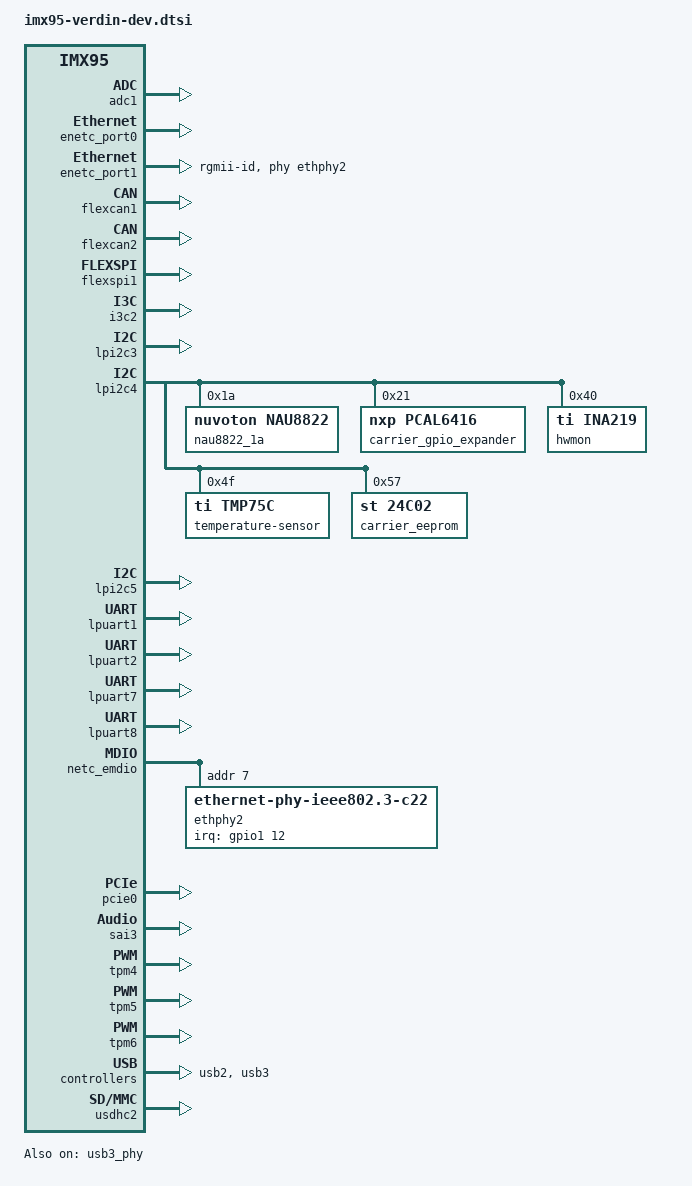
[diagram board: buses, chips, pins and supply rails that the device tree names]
// SPDX-License-Identifier: GPL-2.0-or-later OR MIT
/*
 * Copyright (c) Toradex
 *
 * Common dtsi for Verdin iMX95 SoM on development carrier board
 *
 * https://www.toradex.com/computer-on-modules/verdin-arm-family/nxp-imx95
 * https://www.toradex.com/products/carrier-board/verdin-development-board-kit
 */

/ {
	aliases {
		eeprom1 = &carrier_eeprom;
	};

	sound {
		compatible = "simple-audio-card";
		simple-audio-card,bitclock-master = <&codec_dai>;
		simple-audio-card,format = "i2s";
		simple-audio-card,frame-master = <&codec_dai>;
		simple-audio-card,mclk-fs = <256>;
		simple-audio-card,name = "verdin-nau8822";
		simple-audio-card,routing =
			"Headphones", "LHP",
			"Headphones", "RHP",
			"Speaker", "LSPK",
			"Speaker", "RSPK",
			"Line Out", "AUXOUT1",
			"Line Out", "AUXOUT2",
			"LAUX", "Line In",
			"RAUX", "Line In",
			"LMICP", "Mic In",
			"RMICP", "Mic In";
		simple-audio-card,widgets =
			"Headphones", "Headphones",
			"Line Out", "Line Out",
			"Speaker", "Speaker",
			"Microphone", "Mic In",
			"Line", "Line In";

		codec_dai: simple-audio-card,codec {
			clocks = <&scmi_clk IMX95_CLK_SAI3>;
			sound-dai = <&nau8822_1a>;
		};

		simple-audio-card,cpu {
			sound-dai = <&sai3>;
		};
	};
};

/* Verdin ADC_1, ADC_2, ADC_3 and ADC_4 */
&adc1 {
	status = "okay";
};

/* Verdin ETH_1 (On-module PHY) */
&enetc_port0 {
	status = "okay";
};

/* Verdin ETH_2_RGMII */
&enetc_port1 {
	phy-handle = <&ethphy2>;
	phy-mode = "rgmii-id";

	status = "okay";
};

/* Verdin CAN_1 */
&flexcan1 {
	status = "okay";
};

/* Verdin CAN_2 */
&flexcan2 {
	status = "okay";
};

/* Verdin QSPI_1 */
&flexspi1 {
	status = "okay";
};

&gpio1 {
	pinctrl-names = "default";
	pinctrl-0 = <&pinctrl_ctrl_sleep_moci>;
};

&gpio2 {
	pinctrl-names = "default";
	pinctrl-0 = <&pinctrl_gpio1>,
		    <&pinctrl_gpio2>,
		    <&pinctrl_gpio3>;
};

&gpio3 {
	pinctrl-names = "default";
	pinctrl-0 = <&pinctrl_gpio6>;
};

&gpio4 {
	pinctrl-names = "default";
	pinctrl-0 = <&pinctrl_gpio5>;
};

&gpio5 {
	pinctrl-names = "default";
	pinctrl-0 = <&pinctrl_gpio4>;
};

/* Verdin I2C_3_HDMI */
&i3c2 {
	status = "okay";
};

/* Verdin I2C_2_DSI */
&lpi2c3 {
	status = "okay";
};

/* Verdin I2C_1 */
&lpi2c4 {
	status = "okay";

	nau8822_1a: audio-codec@1a {
		compatible = "nuvoton,nau8822";
		reg = <0x1a>;
		pinctrl-names = "default";
		pinctrl-0 = <&pinctrl_sai3_mclk>;
		#sound-dai-cells = <0>;
	};

	carrier_gpio_expander: gpio@21 {
		compatible = "nxp,pcal6416";
		reg = <0x21>;
		#gpio-cells = <2>;
		gpio-controller;
	};

	/* Current measurement into module VCC */
	hwmon@40 {
		compatible = "ti,ina219";
		reg = <0x40>;
		shunt-resistor = <10000>;
	};

	temperature-sensor@4f {
		compatible = "ti,tmp75c";
		reg = <0x4f>;
	};

	carrier_eeprom: eeprom@57 {
		compatible = "st,24c02", "atmel,24c02";
		reg = <0x57>;
		pagesize = <16>;
	};
};

/* Verdin I2C_4_CSI */
&lpi2c5 {
	status = "okay";
};

/* Verdin UART_3, used as the Linux console */
&lpuart1 {
	status = "okay";
};

/* Verdin UART_4 */
&lpuart2 {
	status = "okay";
};

/* Verdin UART_1, connector X50 through RS485 transceiver */
&lpuart7 {
	rs485-rts-active-low;
	rs485-rx-during-tx;
	linux,rs485-enabled-at-boot-time;

	status = "okay";
};

/* Verdin UART_2 */
&lpuart8 {
	status = "okay";
};

&netc_emdio {
	ethphy2: ethernet-phy@7 {
		compatible = "ethernet-phy-ieee802.3-c22";
		reg = <7>;
		pinctrl-names = "default";
		pinctrl-0 = <&pinctrl_eth2_rgmii_int>;
		interrupt-parent = <&gpio1>;
		interrupts = <12 IRQ_TYPE_LEVEL_LOW>;
		micrel,led-mode = <0>;
	};
};

/* Verdin PCIE_1 */
&pcie0 {
	status = "okay";
};

/* Verdin I2S_1 */
&sai3 {
	status = "okay";
};

/* Verdin PWM_1 */
&tpm4 {
	status = "okay";
};

/* Verdin PWM_2 */
&tpm5 {
	status = "okay";
};

/* Verdin PWM_3_DSI */
&tpm6 {
	status = "okay";
};

/* Verdin USB_1 */
&usb2 {
	status = "okay";
};

/* Verdin USB_2 */
&usb3 {
	fsl,permanently-attached;

	status = "okay";
};

&usb3_phy {
	status = "okay";
};

/* Verdin SD_1 */
&usdhc2 {
	status = "okay";
};

/* Verdin CTRL_WAKE1_MICO# */
&verdin_gpio_keys {
	status = "okay";
};
